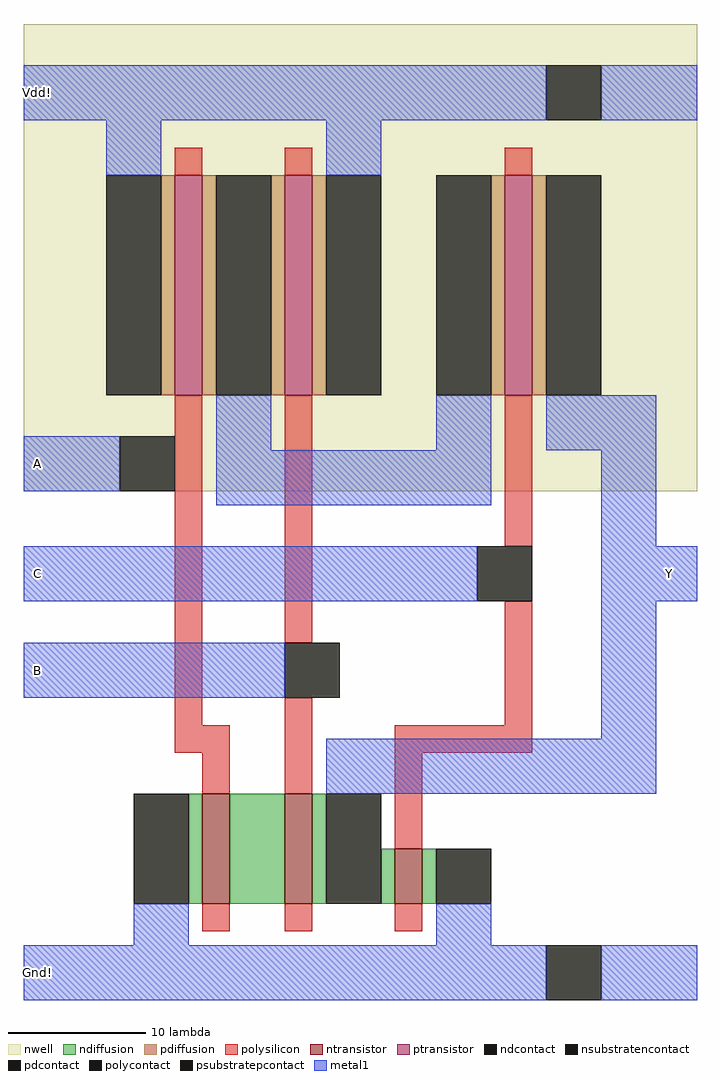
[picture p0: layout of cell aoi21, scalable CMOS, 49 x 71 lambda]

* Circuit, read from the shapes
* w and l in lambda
.subckt aoi21 A B C Gnd! Vdd! Y
M1 n1 A Gnd! Gnd! nfet w=8 l=2
M2 Y B n1 Gnd! nfet w=8 l=2
M3 Gnd! C Y Gnd! nfet w=4 l=2
M4 n2 A Vdd! Vdd! pfet w=16 l=2
M5 Vdd! B n2 Vdd! pfet w=16 l=2
M6 Y C n2 Vdd! pfet w=16 l=2
.ends

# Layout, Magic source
magic
tech scmos
<< nwell >>
rect -21 -24 28 10
<< ntransistor >>
rect -8 -54 -6 -46
rect -2 -54 0 -46
rect 6 -54 8 -50
<< ptransistor >>
rect -10 -17 -8 -1
rect -2 -17 0 -1
rect 14 -17 16 -1
<< ndiffusion >>
rect -9 -54 -8 -46
rect -6 -54 -2 -46
rect 0 -54 1 -46
rect 5 -54 6 -50
rect 8 -54 9 -50
<< pdiffusion >>
rect -11 -17 -10 -1
rect -8 -17 -7 -1
rect -3 -17 -2 -1
rect 0 -17 1 -1
rect 13 -17 14 -1
rect 16 -17 17 -1
<< ndcontact >>
rect -13 -54 -9 -46
rect 1 -54 5 -46
rect 9 -54 13 -50
<< pdcontact >>
rect -15 -17 -11 -1
rect -7 -17 -3 -1
rect 1 -17 5 -1
rect 9 -17 13 -1
rect 17 -17 21 -1
<< psubstratepcontact >>
rect 17 -61 21 -57
<< nsubstratencontact >>
rect 17 3 21 7
<< polysilicon >>
rect -10 -1 -8 1
rect -2 -1 0 1
rect 14 -1 16 1
rect -10 -41 -8 -17
rect -2 -35 0 -17
rect 14 -28 16 -17
rect -10 -43 -6 -41
rect -8 -46 -6 -43
rect -2 -46 0 -39
rect 14 -41 16 -32
rect 6 -43 16 -41
rect 6 -50 8 -43
rect -8 -56 -6 -54
rect -2 -56 0 -54
rect 6 -56 8 -54
<< polycontact >>
rect -14 -24 -10 -20
rect 12 -32 16 -28
rect -2 -39 2 -35
<< metal1 >>
rect -21 3 17 7
rect 21 3 28 7
rect -15 -1 -11 3
rect 1 -1 5 3
rect -21 -24 -14 -20
rect -7 -21 -3 -17
rect 9 -21 13 -17
rect 17 -21 25 -17
rect -7 -25 13 -21
rect 21 -28 25 -21
rect -21 -32 12 -28
rect 21 -32 28 -28
rect -21 -39 -2 -35
rect 21 -42 25 -32
rect 1 -46 25 -42
rect -13 -57 -9 -54
rect 9 -57 13 -54
rect -21 -61 17 -57
rect 21 -61 28 -57
<< labels >>
rlabel metal1 -20 5 -20 5 4 Vdd!
rlabel metal1 -20 -22 -20 -22 3 A
rlabel metal1 -20 -30 -20 -30 3 C
rlabel metal1 -20 -37 -20 -37 3 B
rlabel metal1 -20 -59 -20 -59 2 Gnd!
rlabel metal1 26 -30 26 -30 7 Y
<< end >>
